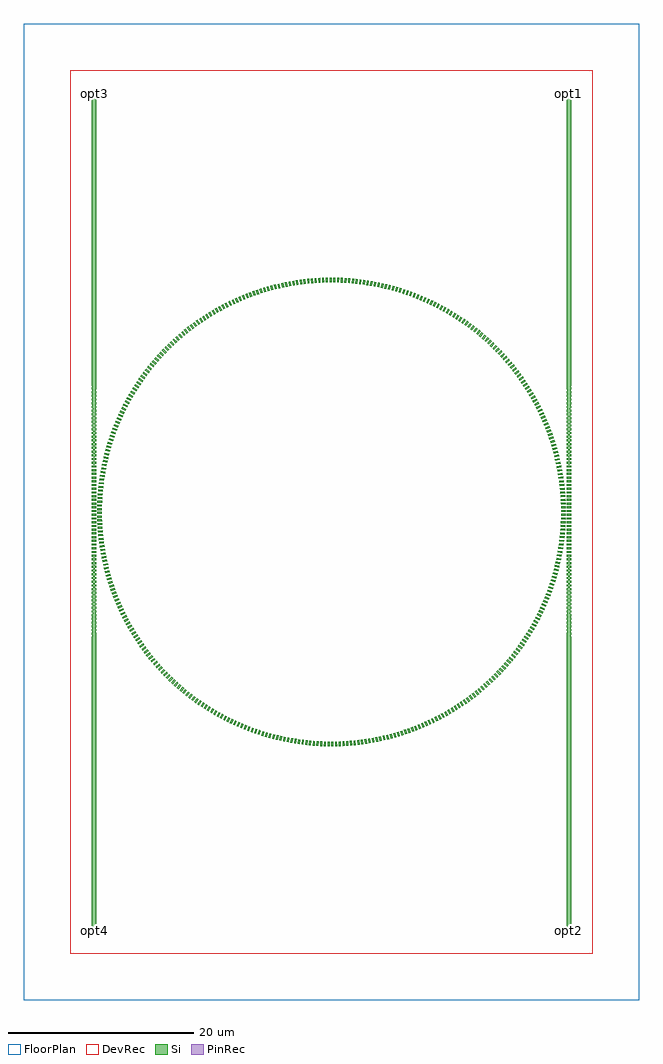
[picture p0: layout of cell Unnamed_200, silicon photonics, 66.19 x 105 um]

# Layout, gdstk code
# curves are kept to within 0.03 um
import gdstk
lib = gdstk.Library(unit=1e-6, precision=1e-09)
def R(c, l, rs):  # rectangles x0, y0, x1, y1
    for r in rs: c.add(gdstk.rectangle(r[:2], r[2:], *l))
def A(c, l, x, y, w, h, nx, ny, dx, dy):  # array of equal rectangles
    R(c, l, [(x+i*dx, y+j*dy, x+i*dx+w, y+j*dy+h) for i in range(nx) for j in range(ny)])
def P(c, l, *ps):  # polygons
    for p in ps: c.add(gdstk.Polygon(p, *l))
Si = (1, 0)
PinRec = (1, 10)
DevRec = (68, 0)
FloorPlan = (99, 0)

unnamed_200 = lib.new_cell('Unnamed_200')
A(unnamed_200, Si, -25.796, -4.4, 0.5, 0.2, 1, 23, 0, 0.4)
A(unnamed_200, Si, 25.296, -4.4, 0.5, 0.2, 1, 23, 0, 0.4)
P(unnamed_200, Si, [(-0.003,-25.205),(-0.002,-24.705),(0.195,-24.705),(0.199,-25.205)],
  [(-25.205,-0.2),(-25.205,0.002),(-24.705,0.002),(-24.705,-0.196)],
  [(-0.197,24.705),(-0.201,25.205),(0.001,25.205),(0.001,24.705)],
  [(12.808,21.126),(12.638,21.228),(12.894,21.658),(13.067,21.554)],
  [(11.075,22.084),(10.898,22.172),(11.118,22.621),(11.299,22.531)],
  [(10.72,22.259),(10.541,22.344),(10.754,22.796),(10.937,22.709)],
  [(10.362,22.428),(10.182,22.51),(10.388,22.965),(10.571,22.881)],
  [(25.296,4.8),(25.296,5),(25.516,5),(25.512,5.2),(25.296,5.2),(25.296,5.4),(25.507,5.4),(25.503,5.6),(25.296,5.6),(25.296,5.8),(25.498,5.8),(25.494,6),(25.296,6),(25.296,6.2),(25.49,6.2),(25.485,6.4),(25.296,6.4),(25.296,6.6),(25.481,6.6),(25.476,6.8),(25.296,6.8),(25.296,7),(25.472,7),(25.468,7.2),(25.296,7.2),(25.296,7.4),(25.463,7.4),(25.459,7.6),(25.296,7.6),(25.296,7.8),(25.454,7.8),(25.45,8),(25.296,8),(25.296,8.2),(25.446,8.2),(25.441,8.4),(25.296,8.4),(25.296,8.6),(25.437,8.6),(25.432,8.8),(25.296,8.8),(25.296,9),(25.428,9),(25.424,9.2),(25.296,9.2),(25.296,9.4),(25.419,9.4),(25.415,9.6),(25.296,9.6),(25.296,9.8),(25.41,9.8),(25.406,10),(25.296,10),(25.296,10.2),(25.402,10.2),(25.397,10.4),(25.296,10.4),(25.296,10.6),(25.393,10.6),(25.388,10.8),(25.296,10.8),(25.296,11),(25.384,11),(25.38,11.2),(25.296,11.2),(25.296,11.4),(25.375,11.4),(25.371,11.6),(25.296,11.6),(25.296,11.8),(25.366,11.8),(25.362,12),(25.296,12),(25.296,12.2),(25.358,12.2),(25.353,12.4),(25.296,12.4),(25.296,12.6),(25.349,12.6),(25.344,12.8),(25.296,12.8),(25.296,13),(25.34,13),(25.336,13.2),(25.296,13.2),(25.296,13.4),(25.331,13.4),(25.327,13.6),(25.296,13.6),(25.296,45),(25.796,45),(25.796,13.6),(25.765,13.6),(25.761,13.4),(25.796,13.4),(25.796,13.2),(25.756,13.2),(25.752,13),(25.796,13),(25.796,12.8),(25.748,12.8),(25.743,12.6),(25.796,12.6),(25.796,12.4),(25.739,12.4),(25.734,12.2),(25.796,12.2),(25.796,12),(25.73,12),(25.726,11.8),(25.796,11.8),(25.796,11.6),(25.721,11.6),(25.717,11.4),(25.796,11.4),(25.796,11.2),(25.712,11.2),(25.708,11),(25.796,11),(25.796,10.8),(25.704,10.8),(25.699,10.6),(25.796,10.6),(25.796,10.4),(25.695,10.4),(25.69,10.2),(25.796,10.2),(25.796,10),(25.686,10),(25.682,9.8),(25.796,9.8),(25.796,9.6),(25.677,9.6),(25.673,9.4),(25.796,9.4),(25.796,9.2),(25.668,9.2),(25.664,9),(25.796,9),(25.796,8.8),(25.66,8.8),(25.655,8.6),(25.796,8.6),(25.796,8.4),(25.651,8.4),(25.646,8.2),(25.796,8.2),(25.796,8),(25.642,8),(25.638,7.8),(25.796,7.8),(25.796,7.6),(25.633,7.6),(25.629,7.4),(25.796,7.4),(25.796,7.2),(25.624,7.2),(25.62,7),(25.796,7),(25.796,6.8),(25.616,6.8),(25.611,6.6),(25.796,6.6),(25.796,6.4),(25.607,6.4),(25.602,6.2),(25.796,6.2),(25.796,6),(25.598,6),(25.594,5.8),(25.796,5.8),(25.796,5.6),(25.589,5.6),(25.585,5.4),(25.796,5.4),(25.796,5.2),(25.58,5.2),(25.576,5),(25.796,5),(25.796,4.8)],
  [(9.638,22.748),(9.455,22.825),(9.646,23.287),(9.833,23.209)],
  [(9.272,22.9),(9.088,22.973),(9.272,23.438),(9.459,23.363)],
  [(8.904,23.045),(8.719,23.116),(8.895,23.584),(9.084,23.512)],
  [(8.533,23.185),(8.347,23.253),(8.516,23.723),(8.706,23.654)],
  [(8.16,23.319),(7.973,23.384),(8.135,23.857),(8.325,23.791)],
  [(7.786,23.447),(7.597,23.508),(7.751,23.984),(7.943,23.921)],
  [(7.409,23.568),(7.22,23.627),(7.366,24.105),(7.559,24.045)],
  [(7.03,23.684),(6.84,23.74),(6.978,24.22),(7.172,24.164)],
  [(6.65,23.794),(6.459,23.846),(6.589,24.329),(6.784,24.275)],
  [(6.267,23.897),(6.076,23.947),(6.199,24.431),(6.394,24.381)],
  [(5.884,23.995),(5.691,24.041),(5.806,24.528),(6.003,24.48)],
  [(5.498,24.086),(5.305,24.129),(5.412,24.618),(5.609,24.573)],
  [(5.111,24.171),(4.918,24.211),(5.017,24.701),(5.215,24.66)],
  [(4.723,24.25),(4.529,24.287),(4.621,24.778),(4.819,24.741)],
  [(4.334,24.322),(4.139,24.356),(4.223,24.849),(4.422,24.815)],
  [(3.944,24.389),(3.748,24.42),(3.824,24.914),(4.024,24.882)],
  [(3.552,24.449),(3.356,24.476),(3.424,24.972),(3.624,24.944)],
  [(3.16,24.503),(2.964,24.527),(3.024,25.023),(3.224,24.998)],
  [(2.767,24.55),(2.57,24.571),(2.622,25.069),(2.823,25.047)],
  [(2.373,24.591),(2.176,24.609),(2.22,25.108),(2.421,25.089)],
  [(1.979,24.626),(1.781,24.641),(1.817,25.14),(2.019,25.125)],
  [(1.584,24.655),(1.386,24.667),(1.414,25.166),(1.616,25.154)],
  [(1.188,24.677),(0.991,24.686),(1.011,25.185),(1.212,25.176)],
  [(0.793,24.693),(0.595,24.698),(0.607,25.198),(0.809,25.193)],
  [(0.397,24.702),(0.199,24.705),(0.203,25.205),(0.405,25.202)],
  [(10.001,22.591),(9.82,22.67),(10.018,23.129),(10.203,23.048)],
  [(11.777,21.718),(11.603,21.811),(11.838,22.253),(12.016,22.157)],
  [(11.428,21.904),(11.252,21.994),(11.48,22.44),(11.659,22.347)],
  [(12.467,21.329),(12.296,21.428),(12.545,21.862),(12.72,21.761)],
  [(12.124,21.526),(11.951,21.623),(12.193,22.06),(12.369,21.962)],
  [(22.9,9.271),(22.825,9.454),(23.287,9.646),(23.363,9.459)],
  [(22.748,9.637),(22.671,9.819),(23.129,10.018),(23.209,9.832)],
  [(22.591,10),(22.51,10.181),(22.966,10.387),(23.048,10.203)],
  [(22.428,10.361),(22.344,10.54),(22.796,10.754),(22.882,10.571)],
  [(22.259,10.719),(22.172,10.897),(22.621,11.118),(22.709,10.936)],
  [(22.084,11.074),(21.995,11.251),(22.44,11.479),(22.531,11.299)],
  [(21.904,11.427),(21.812,11.602),(22.253,11.837),(22.347,11.658)],
  [(21.718,11.777),(21.623,11.95),(22.061,12.192),(22.158,12.015)],
  [(21.526,12.123),(21.429,12.295),(21.862,12.544),(21.962,12.369)],
  [(21.329,12.467),(21.229,12.637),(21.658,12.893),(21.761,12.719)],
  [(21.127,12.807),(21.024,12.976),(21.449,13.238),(21.554,13.066)],
  [(20.919,13.144),(20.813,13.311),(21.234,13.58),(21.342,13.41)],
  [(20.706,13.477),(20.597,13.643),(21.014,13.919),(21.125,13.75)],
  [(20.487,13.808),(20.376,13.971),(20.788,14.254),(20.902,14.087)],
  [(20.263,14.134),(20.149,14.296),(20.557,14.585),(20.673,14.42)],
  [(20.034,14.457),(19.917,14.617),(20.32,14.913),(20.439,14.75)],
  [(19.8,14.776),(19.68,14.935),(20.079,15.237),(20.2,15.075)],
  [(19.56,15.092),(19.439,15.248),(19.832,15.557),(19.956,15.397)],
  [(19.316,15.403),(19.192,15.558),(19.58,15.873),(19.707,15.715)],
  [(19.066,15.711),(18.94,15.863),(19.323,16.184),(19.452,16.029)],
  [(18.812,16.015),(18.683,16.165),(19.061,16.492),(19.193,16.339)],
  [(18.553,16.314),(18.422,16.462),(18.795,16.795),(18.929,16.644)],
  [(18.289,16.609),(18.156,16.755),(18.523,17.094),(18.659,16.945)],
  [(18.021,16.9),(17.885,17.044),(18.247,17.389),(18.385,17.242)],
  [(17.747,17.187),(17.609,17.329),(17.966,17.679),(18.107,17.535)],
  [(17.47,17.469),(17.329,17.609),(17.68,17.965),(17.823,17.823)],
  [(17.187,17.747),(17.045,17.884),(17.39,18.246),(17.535,18.106)],
  [(16.901,18.02),(16.756,18.155),(17.095,18.522),(17.243,18.385)],
  [(16.61,18.289),(16.463,18.421),(16.796,18.794),(16.946,18.659)],
  [(16.315,18.553),(16.165,18.683),(16.493,19.061),(16.645,18.928)],
  [(16.015,18.812),(15.864,18.939),(16.185,19.323),(16.339,19.192)],
  [(15.712,19.066),(15.558,19.191),(15.873,19.58),(16.03,19.452)],
  [(15.404,19.315),(15.249,19.438),(15.557,19.831),(15.716,19.706)],
  [(15.092,19.56),(14.935,19.68),(15.237,20.078),(15.398,19.956)],
  [(14.777,19.799),(14.618,19.917),(14.914,20.32),(15.076,20.2)],
  [(14.458,20.033),(14.297,20.149),(14.586,20.556),(14.75,20.439)],
  [(14.135,20.262),(13.972,20.375),(14.255,20.787),(14.421,20.673)],
  [(13.808,20.486),(13.644,20.596),(13.92,21.013),(14.088,20.901)],
  [(13.478,20.705),(13.312,20.812),(13.581,21.234),(13.751,21.124)],
  [(13.145,20.918),(12.977,21.023),(13.239,21.449),(13.411,21.342)],
  [(24.705,0),(24.705,0.198),(25.205,0.202),(25.205,0)],
  [(24.702,0.396),(24.698,0.594),(25.198,0.606),(25.202,0.404)],
  [(24.693,0.792),(24.686,0.99),(25.185,1.01),(25.193,0.808)],
  [(24.677,1.187),(24.667,1.385),(25.166,1.413),(25.176,1.212)],
  [(24.655,1.583),(24.641,1.78),(25.14,1.816),(25.154,1.615)],
  [(24.626,1.978),(24.61,2.175),(25.108,2.219),(25.125,2.018)],
  [(24.591,2.372),(24.572,2.569),(25.069,2.621),(25.089,2.42)],
  [(24.55,2.766),(24.527,2.963),(25.024,3.023),(25.047,2.822)],
  [(24.503,3.159),(24.477,3.355),(24.972,3.423),(24.999,3.223)],
  [(24.449,3.552),(24.42,3.747),(24.914,3.823),(24.944,3.623)],
  [(24.389,3.943),(24.356,4.138),(24.849,4.222),(24.882,4.023)],
  [(24.323,4.333),(24.287,4.528),(24.779,4.62),(24.815,4.421)],
  [(24.25,4.723),(24.211,4.917),(24.701,5.016),(24.741,4.818)],
  [(24.171,5.111),(24.129,5.304),(24.618,5.412),(24.66,5.214)],
  [(24.086,5.497),(24.041,5.69),(24.528,5.805),(24.574,5.609)],
  [(23.995,5.883),(23.947,6.075),(24.432,6.198),(24.481,6.002)],
  [(23.898,6.267),(23.847,6.458),(24.329,6.589),(24.381,6.393)],
  [(23.794,6.649),(23.74,6.839),(24.22,6.978),(24.276,6.783)],
  [(23.684,7.029),(23.627,7.219),(24.105,7.365),(24.164,7.172)],
  [(23.569,7.408),(23.509,7.597),(23.984,7.75),(24.046,7.558)],
  [(23.447,7.785),(23.384,7.972),(23.857,8.134),(23.921,7.942)],
  [(23.319,8.16),(23.253,8.346),(23.724,8.515),(23.791,8.325)],
  [(23.185,8.532),(23.116,8.718),(23.584,8.894),(23.655,8.705)],
  [(23.046,8.903),(22.974,9.087),(23.439,9.271),(23.512,9.083)],
  [(-12.975,21.024),(-13.238,21.449),(-13.065,21.555),(-12.806,21.127)],
  [(-11.25,21.995),(-11.478,22.44),(-11.298,22.532),(-11.074,22.085)],
  [(-10.896,22.173),(-11.117,22.621),(-10.935,22.71),(-10.718,22.259)],
  [(-10.54,22.345),(-10.753,22.797),(-10.57,22.882),(-10.36,22.428)],
  [(-25.796,4.8),(-25.796,5),(-25.576,5),(-25.58,5.2),(-25.796,5.2),(-25.796,5.4),(-25.585,5.4),(-25.589,5.6),(-25.796,5.6),(-25.796,5.8),(-25.594,5.8),(-25.598,6),(-25.796,6),(-25.796,6.2),(-25.602,6.2),(-25.607,6.4),(-25.796,6.4),(-25.796,6.6),(-25.611,6.6),(-25.616,6.8),(-25.796,6.8),(-25.796,7),(-25.62,7),(-25.624,7.2),(-25.796,7.2),(-25.796,7.4),(-25.629,7.4),(-25.633,7.6),(-25.796,7.6),(-25.796,7.8),(-25.638,7.8),(-25.642,8),(-25.796,8),(-25.796,8.2),(-25.646,8.2),(-25.651,8.4),(-25.796,8.4),(-25.796,8.6),(-25.655,8.6),(-25.66,8.8),(-25.796,8.8),(-25.796,9),(-25.664,9),(-25.668,9.2),(-25.796,9.2),(-25.796,9.4),(-25.673,9.4),(-25.677,9.6),(-25.796,9.6),(-25.796,9.8),(-25.682,9.8),(-25.686,10),(-25.796,10),(-25.796,10.2),(-25.69,10.2),(-25.695,10.4),(-25.796,10.4),(-25.796,10.6),(-25.699,10.6),(-25.704,10.8),(-25.796,10.8),(-25.796,11),(-25.708,11),(-25.712,11.2),(-25.796,11.2),(-25.796,11.4),(-25.717,11.4),(-25.721,11.6),(-25.796,11.6),(-25.796,11.8),(-25.726,11.8),(-25.73,12),(-25.796,12),(-25.796,12.2),(-25.734,12.2),(-25.739,12.4),(-25.796,12.4),(-25.796,12.6),(-25.743,12.6),(-25.748,12.8),(-25.796,12.8),(-25.796,13),(-25.752,13),(-25.756,13.2),(-25.796,13.2),(-25.796,13.4),(-25.761,13.4),(-25.765,13.6),(-25.796,13.6),(-25.796,45),(-25.296,45),(-25.296,13.6),(-25.327,13.6),(-25.331,13.4),(-25.296,13.4),(-25.296,13.2),(-25.336,13.2),(-25.34,13),(-25.296,13),(-25.296,12.8),(-25.344,12.8),(-25.349,12.6),(-25.296,12.6),(-25.296,12.4),(-25.353,12.4),(-25.358,12.2),(-25.296,12.2),(-25.296,12),(-25.362,12),(-25.366,11.8),(-25.296,11.8),(-25.296,11.6),(-25.371,11.6),(-25.375,11.4),(-25.296,11.4),(-25.296,11.2),(-25.38,11.2),(-25.384,11),(-25.296,11),(-25.296,10.8),(-25.388,10.8),(-25.393,10.6),(-25.296,10.6),(-25.296,10.4),(-25.397,10.4),(-25.402,10.2),(-25.296,10.2),(-25.296,10),(-25.406,10),(-25.41,9.8),(-25.296,9.8),(-25.296,9.6),(-25.415,9.6),(-25.419,9.4),(-25.296,9.4),(-25.296,9.2),(-25.424,9.2),(-25.428,9),(-25.296,9),(-25.296,8.8),(-25.432,8.8),(-25.437,8.6),(-25.296,8.6),(-25.296,8.4),(-25.441,8.4),(-25.446,8.2),(-25.296,8.2),(-25.296,8),(-25.45,8),(-25.454,7.8),(-25.296,7.8),(-25.296,7.6),(-25.459,7.6),(-25.463,7.4),(-25.296,7.4),(-25.296,7.2),(-25.468,7.2),(-25.472,7),(-25.296,7),(-25.296,6.8),(-25.476,6.8),(-25.481,6.6),(-25.296,6.6),(-25.296,6.4),(-25.485,6.4),(-25.49,6.2),(-25.296,6.2),(-25.296,6),(-25.494,6),(-25.498,5.8),(-25.296,5.8),(-25.296,5.6),(-25.503,5.6),(-25.507,5.4),(-25.296,5.4),(-25.296,5.2),(-25.512,5.2),(-25.516,5),(-25.296,5),(-25.296,4.8)],
  [(-9.818,22.671),(-10.017,23.13),(-9.831,23.209),(-9.636,22.749)],
  [(-9.453,22.825),(-9.645,23.287),(-9.458,23.364),(-9.27,22.9)],
  [(-9.086,22.974),(-9.27,23.439),(-9.082,23.512),(-8.902,23.046)],
  [(-8.717,23.117),(-8.893,23.584),(-8.704,23.655),(-8.531,23.186)],
  [(-8.345,23.253),(-8.514,23.724),(-8.324,23.791),(-8.159,23.319)],
  [(-7.972,23.384),(-8.133,23.857),(-7.941,23.922),(-7.784,23.447)],
  [(-7.596,23.509),(-7.75,23.985),(-7.557,24.046),(-7.407,23.569)],
  [(-7.218,23.628),(-7.364,24.106),(-7.171,24.164),(-7.028,23.685)],
  [(-6.838,23.74),(-6.977,24.221),(-6.782,24.276),(-6.648,23.794)],
  [(-6.457,23.847),(-6.588,24.329),(-6.393,24.381),(-6.266,23.898)],
  [(-6.074,23.947),(-6.197,24.432),(-6.001,24.481),(-5.882,23.995)],
  [(-5.689,24.041),(-5.805,24.528),(-5.608,24.574),(-5.497,24.086)],
  [(-5.303,24.13),(-5.411,24.618),(-5.213,24.66),(-5.11,24.171)],
  [(-4.916,24.211),(-5.015,24.701),(-4.817,24.741),(-4.722,24.25)],
  [(-4.527,24.287),(-4.619,24.779),(-4.42,24.815),(-4.332,24.323)],
  [(-4.137,24.357),(-4.221,24.85),(-4.022,24.883),(-3.942,24.389)],
  [(-3.747,24.42),(-3.822,24.914),(-3.623,24.944),(-3.551,24.449)],
  [(-3.355,24.477),(-3.423,24.972),(-3.222,24.999),(-3.158,24.503)],
  [(-2.962,24.527),(-3.022,25.024),(-2.821,25.047),(-2.765,24.55)],
  [(-2.568,24.572),(-2.62,25.069),(-2.419,25.089),(-2.371,24.591)],
  [(-2.174,24.61),(-2.218,25.108),(-2.017,25.125),(-1.977,24.626)],
  [(-1.78,24.641),(-1.816,25.14),(-1.614,25.154),(-1.582,24.655)],
  [(-1.384,24.667),(-1.412,25.166),(-1.211,25.176),(-1.187,24.677)],
  [(-0.989,24.686),(-1.009,25.185),(-0.807,25.193),(-0.791,24.693)],
  [(-0.593,24.698),(-0.605,25.198),(-0.403,25.202),(-0.395,24.702)],
  [(-10.18,22.511),(-10.386,22.966),(-10.202,23.049),(-9.999,22.591)],
  [(-14.295,20.15),(-14.585,20.557),(-14.42,20.674),(-14.133,20.263)],
  [(-13.971,20.376),(-14.253,20.788),(-14.086,20.902),(-13.807,20.487)],
  [(-22.824,9.456),(-23.286,9.647),(-23.208,9.833),(-22.748,9.638)],
  [(-13.642,20.597),(-13.918,21.014),(-13.75,21.125),(-13.477,20.706)],
  [(-13.31,20.813),(-13.58,21.235),(-13.409,21.343),(-13.143,20.919)],
  [(-22.67,9.82),(-23.129,10.019),(-23.048,10.204),(-22.59,10.002)],
  [(-24.641,1.782),(-25.14,1.818),(-25.124,2.02),(-24.626,1.979)],
  [(-22.51,10.182),(-22.965,10.388),(-22.881,10.572),(-22.427,10.362)],
  [(-24.419,3.749),(-24.914,3.825),(-24.882,4.024),(-24.389,3.945)],
  [(-22.343,10.542),(-22.796,10.755),(-22.709,10.938),(-22.258,10.721)],
  [(-18.682,16.166),(-19.06,16.493),(-18.927,16.645),(-18.552,16.315)],
  [(-22.172,10.899),(-22.62,11.119),(-22.531,11.3),(-22.084,11.076)],
  [(-23.846,6.459),(-24.329,6.59),(-24.275,6.785),(-23.794,6.65)],
  [(-18.421,16.463),(-18.793,16.797),(-18.658,16.947),(-18.288,16.61)],
  [(-21.994,11.253),(-22.439,11.48),(-22.347,11.66),(-21.903,11.428)],
  [(-24.698,0.596),(-25.198,0.608),(-25.192,0.81),(-24.693,0.793)],
  [(-18.154,16.756),(-18.522,17.096),(-18.384,17.244),(-18.02,16.901)],
  [(-21.811,11.604),(-22.252,11.838),(-22.157,12.016),(-21.717,11.778)],
  [(-23.74,6.841),(-24.22,6.979),(-24.163,7.173),(-23.684,7.031)],
  [(-24.356,4.14),(-24.849,4.224),(-24.814,4.423),(-24.322,4.335)],
  [(-17.883,17.045),(-18.245,17.39),(-18.105,17.536),(-17.746,17.188)],
  [(-21.622,11.952),(-22.06,12.194),(-21.961,12.37),(-21.526,12.125)],
  [(-24.667,1.387),(-25.166,1.415),(-25.154,1.617),(-24.655,1.585)],
  [(-17.608,17.33),(-17.964,17.68),(-17.822,17.824),(-17.469,17.47)],
  [(-21.428,12.297),(-21.861,12.546),(-21.76,12.72),(-21.329,12.468)],
  [(-23.627,7.22),(-24.105,7.367),(-24.045,7.559),(-23.568,7.41)],
  [(-24.686,0.991),(-25.185,1.011),(-25.176,1.213),(-24.677,1.189)],
  [(-17.328,17.61),(-17.679,17.966),(-17.534,18.107),(-17.186,17.748)],
  [(-21.228,12.639),(-21.658,12.894),(-21.554,13.068),(-21.126,12.808)],
  [(-24.527,2.964),(-25.023,3.024),(-24.998,3.225),(-24.502,3.161)],
  [(-24.609,2.177),(-25.107,2.221),(-25.089,2.422),(-24.591,2.374)],
  [(-17.044,17.885),(-17.388,18.247),(-17.242,18.386),(-16.9,18.021)],
  [(-21.023,12.977),(-21.448,13.24),(-21.341,13.411),(-20.918,13.145)],
  [(-23.508,7.598),(-23.984,7.752),(-23.921,7.944),(-23.446,7.786)],
  [(-24.287,4.53),(-24.778,4.621),(-24.74,4.82),(-24.25,4.724)],
  [(-16.755,18.156),(-17.094,18.524),(-16.945,18.66),(-16.609,18.29)],
  [(-20.812,13.312),(-21.233,13.582),(-21.124,13.752),(-20.705,13.479)],
  [(-16.462,18.422),(-16.795,18.795),(-16.644,18.929),(-16.313,18.554)],
  [(-20.596,13.644),(-21.013,13.92),(-20.901,14.088),(-20.486,13.809)],
  [(-23.383,7.974),(-23.857,8.135),(-23.791,8.326),(-23.319,8.161)],
  [(-24.211,4.918),(-24.701,5.018),(-24.66,5.216),(-24.171,5.112)],
  [(-16.164,18.684),(-16.491,19.062),(-16.338,19.193),(-16.014,18.813)],
  [(-20.375,13.973),(-20.787,14.255),(-20.672,14.422),(-20.262,14.136)],
  [(-15.863,18.94),(-16.184,19.324),(-16.028,19.453),(-15.71,19.067)],
  [(-20.148,14.297),(-20.556,14.587),(-20.438,14.751),(-20.033,14.458)],
  [(-23.252,8.348),(-23.723,8.517),(-23.654,8.707),(-23.185,8.534)],
  [(-24.129,5.306),(-24.617,5.413),(-24.573,5.61),(-24.086,5.499)],
  [(-15.557,19.192),(-15.872,19.581),(-15.714,19.707),(-15.403,19.316)],
  [(-19.916,14.619),(-20.319,14.914),(-20.199,15.077),(-19.799,14.778)],
  [(-24.705,0.2),(-25.205,0.204),(-25.202,0.406),(-24.702,0.398)],
  [(-15.247,19.439),(-15.556,19.833),(-15.397,19.957),(-15.091,19.561)],
  [(-19.679,14.936),(-20.078,15.238),(-19.955,15.399),(-19.559,15.093)],
  [(-23.116,8.719),(-23.584,8.896),(-23.511,9.085),(-23.045,8.904)],
  [(-24.041,5.692),(-24.527,5.807),(-24.48,6.003),(-23.995,5.884)],
  [(-14.934,19.681),(-15.236,20.079),(-15.075,20.201),(-14.776,19.8)],
  [(-19.438,15.249),(-19.831,15.558),(-19.706,15.716),(-19.315,15.405)],
  [(-24.476,3.357),(-24.972,3.425),(-24.943,3.625),(-24.449,3.553)],
  [(-24.571,2.571),(-25.069,2.623),(-25.047,2.824),(-24.55,2.768)],
  [(-14.617,19.918),(-14.912,20.321),(-14.749,20.44),(-14.456,20.034)],
  [(-19.191,15.559),(-19.579,15.874),(-19.451,16.03),(-19.065,15.712)],
  [(-23.947,6.076),(-24.431,6.199),(-24.381,6.395),(-23.897,6.268)],
  [(-22.973,9.089),(-23.438,9.273),(-23.363,9.46),(-22.899,9.273)],
  [(-18.939,15.865),(-19.322,16.186),(-19.192,16.34),(-18.811,16.016)],
  [(-12.295,21.429),(-12.543,21.863),(-12.368,21.963),(-12.122,21.527)],
  [(-11.601,21.812),(-11.836,22.254),(-11.658,22.348),(-11.426,21.904)],
  [(-12.636,21.229),(-12.892,21.659),(-12.718,21.762),(-12.466,21.33)],
  [(-11.95,21.623),(-12.191,22.061),(-12.014,22.158),(-11.776,21.718)],
  [(-10.389,-22.965),(-10.573,-22.881),(-10.363,-22.427),(-10.183,-22.509)],
  [(-10.756,-22.795),(-10.938,-22.708),(-10.721,-22.258),(-10.543,-22.343)],
  [(-11.12,-22.62),(-11.301,-22.53),(-11.077,-22.083),(-10.899,-22.171)],
  [(-12.895,-21.657),(-13.068,-21.553),(-12.809,-21.126),(-12.639,-21.228)],
  [(-25.796,-45),(-25.796,-13.4),(-25.765,-13.4),(-25.761,-13.2),(-25.796,-13.2),(-25.796,-13),(-25.756,-13),(-25.752,-12.8),(-25.796,-12.8),(-25.796,-12.6),(-25.748,-12.6),(-25.743,-12.4),(-25.796,-12.4),(-25.796,-12.2),(-25.739,-12.2),(-25.734,-12),(-25.796,-12),(-25.796,-11.8),(-25.73,-11.8),(-25.726,-11.6),(-25.796,-11.6),(-25.796,-11.4),(-25.721,-11.4),(-25.717,-11.2),(-25.796,-11.2),(-25.796,-11),(-25.712,-11),(-25.708,-10.8),(-25.796,-10.8),(-25.796,-10.6),(-25.704,-10.6),(-25.699,-10.4),(-25.796,-10.4),(-25.796,-10.2),(-25.695,-10.2),(-25.69,-10),(-25.796,-10),(-25.796,-9.8),(-25.686,-9.8),(-25.682,-9.6),(-25.796,-9.6),(-25.796,-9.4),(-25.677,-9.4),(-25.673,-9.2),(-25.796,-9.2),(-25.796,-9),(-25.668,-9),(-25.664,-8.8),(-25.796,-8.8),(-25.796,-8.6),(-25.66,-8.6),(-25.655,-8.4),(-25.796,-8.4),(-25.796,-8.2),(-25.651,-8.2),(-25.646,-8),(-25.796,-8),(-25.796,-7.8),(-25.642,-7.8),(-25.638,-7.6),(-25.796,-7.6),(-25.796,-7.4),(-25.633,-7.4),(-25.629,-7.2),(-25.796,-7.2),(-25.796,-7),(-25.624,-7),(-25.62,-6.8),(-25.796,-6.8),(-25.796,-6.6),(-25.616,-6.6),(-25.611,-6.4),(-25.796,-6.4),(-25.796,-6.2),(-25.607,-6.2),(-25.602,-6),(-25.796,-6),(-25.796,-5.8),(-25.598,-5.8),(-25.594,-5.6),(-25.796,-5.6),(-25.796,-5.4),(-25.589,-5.4),(-25.585,-5.2),(-25.796,-5.2),(-25.796,-5),(-25.58,-5),(-25.576,-4.8),(-25.796,-4.8),(-25.796,-4.6),(-25.296,-4.6),(-25.296,-4.8),(-25.516,-4.8),(-25.512,-5),(-25.296,-5),(-25.296,-5.2),(-25.507,-5.2),(-25.503,-5.4),(-25.296,-5.4),(-25.296,-5.6),(-25.498,-5.6),(-25.494,-5.8),(-25.296,-5.8),(-25.296,-6),(-25.49,-6),(-25.485,-6.2),(-25.296,-6.2),(-25.296,-6.4),(-25.481,-6.4),(-25.476,-6.6),(-25.296,-6.6),(-25.296,-6.8),(-25.472,-6.8),(-25.468,-7),(-25.296,-7),(-25.296,-7.2),(-25.463,-7.2),(-25.459,-7.4),(-25.296,-7.4),(-25.296,-7.6),(-25.454,-7.6),(-25.45,-7.8),(-25.296,-7.8),(-25.296,-8),(-25.446,-8),(-25.441,-8.2),(-25.296,-8.2),(-25.296,-8.4),(-25.437,-8.4),(-25.432,-8.6),(-25.296,-8.6),(-25.296,-8.8),(-25.428,-8.8),(-25.424,-9),(-25.296,-9),(-25.296,-9.2),(-25.419,-9.2),(-25.415,-9.4),(-25.296,-9.4),(-25.296,-9.6),(-25.41,-9.6),(-25.406,-9.8),(-25.296,-9.8),(-25.296,-10),(-25.402,-10),(-25.397,-10.2),(-25.296,-10.2),(-25.296,-10.4),(-25.393,-10.4),(-25.388,-10.6),(-25.296,-10.6),(-25.296,-10.8),(-25.384,-10.8),(-25.38,-11),(-25.296,-11),(-25.296,-11.2),(-25.375,-11.2),(-25.371,-11.4),(-25.296,-11.4),(-25.296,-11.6),(-25.366,-11.6),(-25.362,-11.8),(-25.296,-11.8),(-25.296,-12),(-25.358,-12),(-25.353,-12.2),(-25.296,-12.2),(-25.296,-12.4),(-25.349,-12.4),(-25.344,-12.6),(-25.296,-12.6),(-25.296,-12.8),(-25.34,-12.8),(-25.336,-13),(-25.296,-13),(-25.296,-13.2),(-25.331,-13.2),(-25.327,-13.4),(-25.296,-13.4),(-25.296,-45)],
  [(-12.194,-22.059),(-12.371,-21.961),(-12.125,-21.525),(-11.952,-21.622)],
  [(-12.546,-21.861),(-12.721,-21.76),(-12.469,-21.328),(-12.297,-21.427)],
  [(-11.481,-22.439),(-11.661,-22.346),(-11.429,-21.903),(-11.253,-21.994)],
  [(-11.839,-22.252),(-12.017,-22.156),(-11.779,-21.717),(-11.604,-21.811)],
  [(-13.583,-21.233),(-13.752,-21.123),(-13.48,-20.704),(-13.313,-20.812)],
  [(-13.921,-21.012),(-14.089,-20.9),(-13.81,-20.485),(-13.645,-20.595)],
  [(-14.256,-20.786),(-14.422,-20.672),(-14.136,-20.262),(-13.973,-20.374)],
  [(-14.587,-20.555),(-14.752,-20.438),(-14.459,-20.032),(-14.298,-20.148)],
  [(-14.915,-20.319),(-15.077,-20.199),(-14.778,-19.798),(-14.619,-19.916)],
  [(-15.239,-20.077),(-15.399,-19.954),(-15.094,-19.559),(-14.937,-19.679)],
  [(-15.559,-19.83),(-15.717,-19.705),(-15.405,-19.314),(-15.25,-19.437)],
  [(-15.874,-19.579),(-16.031,-19.451),(-15.713,-19.065),(-15.56,-19.19)],
  [(-16.186,-19.322),(-16.341,-19.191),(-16.016,-18.811),(-15.865,-18.938)],
  [(-16.494,-19.06),(-16.646,-18.927),(-16.316,-18.551),(-16.167,-18.682)],
  [(-16.797,-18.793),(-16.947,-18.658),(-16.611,-18.288),(-16.464,-18.42)],
  [(-17.096,-18.521),(-17.244,-18.384),(-16.902,-18.019),(-16.757,-18.154)],
  [(-17.391,-18.245),(-17.537,-18.105),(-17.189,-17.746),(-17.046,-17.883)],
  [(-17.681,-17.964),(-17.824,-17.821),(-17.471,-17.468),(-17.33,-17.607)],
  [(-17.967,-17.678),(-18.108,-17.534),(-17.749,-17.186),(-17.61,-17.327)],
  [(-18.248,-17.388),(-18.387,-17.241),(-18.022,-16.899),(-17.886,-17.043)],
  [(-18.524,-17.093),(-18.66,-16.944),(-18.29,-16.608),(-18.157,-16.754)],
  [(-18.796,-16.794),(-18.93,-16.643),(-18.554,-16.313),(-18.423,-16.461)],
  [(-19.062,-16.491),(-19.194,-16.337),(-18.813,-16.013),(-18.684,-16.164)],
  [(-19.324,-16.183),(-19.453,-16.028),(-19.067,-15.71),(-18.941,-15.862)],
  [(-19.581,-15.871),(-19.708,-15.714),(-19.317,-15.402),(-19.193,-15.556)],
  [(-19.833,-15.555),(-19.957,-15.396),(-19.561,-15.09),(-19.44,-15.247)],
  [(-20.08,-15.235),(-20.201,-15.074),(-19.801,-14.775),(-19.681,-14.933)],
  [(-20.321,-14.912),(-20.44,-14.748),(-20.035,-14.456),(-19.918,-14.616)],
  [(-20.558,-14.584),(-20.674,-14.419),(-20.264,-14.133),(-20.15,-14.295)],
  [(-20.789,-14.253),(-20.902,-14.086),(-20.488,-13.806),(-20.377,-13.97)],
  [(-21.015,-13.918),(-21.126,-13.749),(-20.706,-13.476),(-20.598,-13.642)],
  [(-21.235,-13.579),(-21.343,-13.408),(-20.92,-13.142),(-20.814,-13.31)],
  [(-21.45,-13.237),(-21.555,-13.065),(-21.128,-12.805),(-21.024,-12.974)],
  [(-21.659,-12.891),(-21.762,-12.717),(-21.33,-12.465),(-21.23,-12.636)],
  [(-21.863,-12.543),(-21.963,-12.367),(-21.527,-12.122),(-21.429,-12.294)],
  [(-22.061,-12.191),(-22.158,-12.013),(-21.719,-11.775),(-21.624,-11.949)],
  [(-22.254,-11.835),(-22.348,-11.657),(-21.905,-11.426),(-21.812,-11.601)],
  [(-22.441,-11.477),(-22.532,-11.297),(-22.085,-11.073),(-21.996,-11.25)],
  [(-22.622,-11.116),(-22.71,-10.935),(-22.26,-10.718),(-22.173,-10.896)],
  [(-22.797,-10.752),(-22.883,-10.569),(-22.429,-10.359),(-22.345,-10.539)],
  [(-22.967,-10.385),(-23.049,-10.201),(-22.592,-9.999),(-22.511,-10.179)],
  [(-23.13,-10.016),(-23.21,-9.83),(-22.749,-9.635),(-22.671,-9.817)],
  [(-23.288,-9.644),(-23.364,-9.457),(-22.901,-9.269),(-22.826,-9.453)],
  [(-23.439,-9.269),(-23.513,-9.081),(-23.046,-8.901),(-22.974,-9.086)],
  [(-23.585,-8.893),(-23.655,-8.703),(-23.186,-8.531),(-23.117,-8.716)],
  [(-23.724,-8.513),(-23.792,-8.323),(-23.32,-8.158),(-23.254,-8.345)],
  [(-23.858,-8.132),(-23.922,-7.941),(-23.447,-7.783),(-23.384,-7.971)],
  [(-23.985,-7.749),(-24.046,-7.556),(-23.569,-7.406),(-23.509,-7.595)],
  [(-24.106,-7.363),(-24.164,-7.17),(-23.685,-7.028),(-23.628,-7.217)],
  [(-24.221,-6.976),(-24.276,-6.782),(-23.794,-6.647),(-23.74,-6.838)],
  [(-24.33,-6.587),(-24.382,-6.392),(-23.898,-6.265),(-23.847,-6.456)],
  [(-24.432,-6.196),(-24.481,-6),(-23.995,-5.881),(-23.947,-6.073)],
  [(-24.528,-5.804),(-24.574,-5.607),(-24.086,-5.496),(-24.042,-5.689)],
  [(-24.618,-5.41),(-24.661,-5.212),(-24.171,-5.109),(-24.13,-5.303)],
  [(-24.702,-5.015),(-24.741,-4.816),(-24.25,-4.721),(-24.212,-4.915)],
  [(-13.241,-21.448),(-13.412,-21.341),(-13.146,-20.918),(-12.978,-21.022)],
  [(-24.779,-4.618),(-24.815,-4.419),(-24.323,-4.332),(-24.287,-4.526)],
  [(-24.85,-4.22),(-24.883,-4.021),(-24.389,-3.941),(-24.357,-4.137)],
  [(-24.914,-3.821),(-24.944,-3.622),(-24.449,-3.55),(-24.42,-3.746)],
  [(-24.972,-3.422),(-24.999,-3.221),(-24.503,-3.158),(-24.477,-3.354)],
  [(-25.024,-3.021),(-25.047,-2.82),(-24.55,-2.764),(-24.527,-2.961)],
  [(-25.069,-2.62),(-25.089,-2.419),(-24.591,-2.371),(-24.572,-2.568)],
  [(-25.108,-2.217),(-25.125,-2.016),(-24.626,-1.976),(-24.61,-2.173)],
  [(-25.14,-1.815),(-25.154,-1.613),(-24.655,-1.581),(-24.641,-1.779)],
  [(-25.166,-1.412),(-25.176,-1.21),(-24.677,-1.186),(-24.667,-1.384)],
  [(-25.185,-1.008),(-25.193,-0.806),(-24.693,-0.79),(-24.686,-0.988)],
  [(-25.198,-0.604),(-25.202,-0.402),(-24.702,-0.394),(-24.698,-0.592)],
  [(-10.02,-23.128),(-10.205,-23.047),(-10.002,-22.59),(-9.821,-22.67)],
  [(-2.222,-25.107),(-2.423,-25.089),(-2.375,-24.591),(-2.178,-24.609)],
  [(-2.624,-25.069),(-2.825,-25.047),(-2.769,-24.55),(-2.572,-24.571)],
  [(-3.025,-25.023),(-3.226,-24.998),(-3.162,-24.502),(-2.965,-24.527)],
  [(-3.426,-24.972),(-3.626,-24.943),(-3.554,-24.449),(-3.358,-24.476)],
  [(-3.826,-24.913),(-4.025,-24.882),(-3.945,-24.388),(-3.75,-24.419)],
  [(-4.224,-24.849),(-4.423,-24.814),(-4.336,-24.322),(-4.141,-24.356)],
  [(-4.622,-24.778),(-4.821,-24.74),(-4.725,-24.249),(-4.531,-24.287)],
  [(-5.019,-24.701),(-5.217,-24.66),(-5.113,-24.171),(-4.919,-24.211)],
  [(-5.414,-24.617),(-5.611,-24.573),(-5.5,-24.086),(-5.307,-24.129)],
  [(-5.808,-24.527),(-6.004,-24.48),(-5.885,-23.994),(-5.693,-24.041)],
  [(-6.2,-24.431),(-6.396,-24.381),(-6.269,-23.897),(-6.077,-23.946)],
  [(-6.591,-24.328),(-6.786,-24.275),(-6.651,-23.793),(-6.46,-23.846)],
  [(-6.98,-24.22),(-7.174,-24.163),(-7.032,-23.684),(-6.842,-23.739)],
  [(-7.367,-24.105),(-7.56,-24.045),(-7.41,-23.568),(-7.221,-23.627)],
  [(-7.753,-23.984),(-7.945,-23.921),(-7.787,-23.446),(-7.599,-23.508)],
  [(-8.136,-23.856),(-8.327,-23.79),(-8.162,-23.318),(-7.975,-23.383)],
  [(-8.517,-23.723),(-8.707,-23.654),(-8.535,-23.185),(-8.349,-23.252)],
  [(-8.897,-23.583),(-9.085,-23.511),(-8.905,-23.045),(-8.72,-23.115)],
  [(-9.273,-23.438),(-9.461,-23.363),(-9.273,-22.899),(-9.089,-22.973)],
  [(-9.648,-23.286),(-9.834,-23.208),(-9.639,-22.748),(-9.456,-22.824)],
  [(-0.205,-25.205),(-0.407,-25.202),(-0.398,-24.702),(-0.2,-24.705)],
  [(-0.608,-25.198),(-0.81,-25.192),(-0.794,-24.693),(-0.596,-24.698)],
  [(-1.012,-25.185),(-1.214,-25.176),(-1.19,-24.677),(-0.992,-24.686)],
  [(-1.416,-25.166),(-1.617,-25.154),(-1.585,-24.655),(-1.388,-24.666)],
  [(-1.819,-25.14),(-2.02,-25.124),(-1.98,-24.626),(-1.783,-24.641)],
  [(11.296,-22.532),(11.072,-22.085),(11.249,-21.996),(11.477,-22.441)],
  [(13.064,-21.556),(12.805,-21.128),(12.974,-21.025),(13.236,-21.45)],
  [(25.296,-45),(25.296,-13.4),(25.327,-13.4),(25.331,-13.2),(25.296,-13.2),(25.296,-13),(25.336,-13),(25.34,-12.8),(25.296,-12.8),(25.296,-12.6),(25.344,-12.6),(25.349,-12.4),(25.296,-12.4),(25.296,-12.2),(25.353,-12.2),(25.358,-12),(25.296,-12),(25.296,-11.8),(25.362,-11.8),(25.366,-11.6),(25.296,-11.6),(25.296,-11.4),(25.371,-11.4),(25.375,-11.2),(25.296,-11.2),(25.296,-11),(25.38,-11),(25.384,-10.8),(25.296,-10.8),(25.296,-10.6),(25.388,-10.6),(25.393,-10.4),(25.296,-10.4),(25.296,-10.2),(25.397,-10.2),(25.402,-10),(25.296,-10),(25.296,-9.8),(25.406,-9.8),(25.41,-9.6),(25.296,-9.6),(25.296,-9.4),(25.415,-9.4),(25.419,-9.2),(25.296,-9.2),(25.296,-9),(25.424,-9),(25.428,-8.8),(25.296,-8.8),(25.296,-8.6),(25.432,-8.6),(25.437,-8.4),(25.296,-8.4),(25.296,-8.2),(25.441,-8.2),(25.446,-8),(25.296,-8),(25.296,-7.8),(25.45,-7.8),(25.454,-7.6),(25.296,-7.6),(25.296,-7.4),(25.459,-7.4),(25.463,-7.2),(25.296,-7.2),(25.296,-7),(25.468,-7),(25.472,-6.8),(25.296,-6.8),(25.296,-6.6),(25.476,-6.6),(25.481,-6.4),(25.296,-6.4),(25.296,-6.2),(25.485,-6.2),(25.49,-6),(25.296,-6),(25.296,-5.8),(25.494,-5.8),(25.498,-5.6),(25.296,-5.6),(25.296,-5.4),(25.503,-5.4),(25.507,-5.2),(25.296,-5.2),(25.296,-5),(25.512,-5),(25.516,-4.8),(25.296,-4.8),(25.296,-4.6),(25.796,-4.6),(25.796,-4.8),(25.576,-4.8),(25.58,-5),(25.796,-5),(25.796,-5.2),(25.585,-5.2),(25.589,-5.4),(25.796,-5.4),(25.796,-5.6),(25.594,-5.6),(25.598,-5.8),(25.796,-5.8),(25.796,-6),(25.602,-6),(25.607,-6.2),(25.796,-6.2),(25.796,-6.4),(25.611,-6.4),(25.616,-6.6),(25.796,-6.6),(25.796,-6.8),(25.62,-6.8),(25.624,-7),(25.796,-7),(25.796,-7.2),(25.629,-7.2),(25.633,-7.4),(25.796,-7.4),(25.796,-7.6),(25.638,-7.6),(25.642,-7.8),(25.796,-7.8),(25.796,-8),(25.646,-8),(25.651,-8.2),(25.796,-8.2),(25.796,-8.4),(25.655,-8.4),(25.66,-8.6),(25.796,-8.6),(25.796,-8.8),(25.664,-8.8),(25.668,-9),(25.796,-9),(25.796,-9.2),(25.673,-9.2),(25.677,-9.4),(25.796,-9.4),(25.796,-9.6),(25.682,-9.6),(25.686,-9.8),(25.796,-9.8),(25.796,-10),(25.69,-10),(25.695,-10.2),(25.796,-10.2),(25.796,-10.4),(25.699,-10.4),(25.704,-10.6),(25.796,-10.6),(25.796,-10.8),(25.708,-10.8),(25.712,-11),(25.796,-11),(25.796,-11.2),(25.717,-11.2),(25.721,-11.4),(25.796,-11.4),(25.796,-11.6),(25.726,-11.6),(25.73,-11.8),(25.796,-11.8),(25.796,-12),(25.734,-12),(25.739,-12.2),(25.796,-12.2),(25.796,-12.4),(25.743,-12.4),(25.748,-12.6),(25.796,-12.6),(25.796,-12.8),(25.752,-12.8),(25.756,-13),(25.796,-13),(25.796,-13.2),(25.761,-13.2),(25.765,-13.4),(25.796,-13.4),(25.796,-45)],
  [(10.568,-22.883),(10.359,-22.429),(10.538,-22.345),(10.751,-22.797)],
  [(10.934,-22.711),(10.717,-22.26),(10.895,-22.173),(11.115,-22.622)],
  [(21.123,-13.753),(20.704,-13.48),(20.811,-13.314),(21.232,-13.583)],
  [(21.34,-13.413),(20.917,-13.147),(21.022,-12.979),(21.447,-13.241)],
  [(21.553,-13.069),(21.125,-12.81),(21.227,-12.64),(21.657,-12.896)],
  [(21.759,-12.722),(21.328,-12.47),(21.427,-12.298),(21.861,-12.547)],
  [(21.96,-12.371),(21.525,-12.126),(21.621,-11.953),(22.059,-12.195)],
  [(22.156,-12.018),(21.716,-11.78),(21.81,-11.605),(22.252,-11.84)],
  [(20.198,-15.078),(19.798,-14.779),(19.915,-14.62),(20.318,-14.916)],
  [(22.346,-11.661),(21.902,-11.43),(21.993,-11.254),(22.438,-11.482)],
  [(22.53,-11.302),(22.083,-11.077),(22.171,-10.9),(22.62,-11.121)],
  [(13.408,-21.344),(13.142,-20.92),(13.309,-20.814),(13.578,-21.235)],
  [(22.708,-10.939),(22.258,-10.722),(22.343,-10.543),(22.795,-10.757)],
  [(22.88,-10.574),(22.427,-10.364),(22.509,-10.184),(22.964,-10.39)],
  [(13.748,-21.126),(13.475,-20.707),(13.641,-20.598),(13.917,-21.015)],
  [(23.047,-10.206),(22.59,-10.003),(22.669,-9.822),(23.128,-10.021)],
  [(23.208,-9.835),(22.747,-9.64),(22.824,-9.457),(23.286,-9.649)],
  [(14.085,-20.903),(13.806,-20.488),(13.969,-20.377),(14.252,-20.789)],
  [(23.362,-9.462),(22.899,-9.274),(22.972,-9.09),(23.437,-9.274)],
  [(23.511,-9.086),(23.044,-8.906),(23.115,-8.721),(23.583,-8.897)],
  [(14.418,-20.674),(14.132,-20.264),(14.294,-20.15),(14.583,-20.558)],
  [(23.653,-8.708),(23.184,-8.535),(23.252,-8.349),(23.722,-8.518)],
  [(23.79,-8.328),(23.318,-8.163),(23.383,-7.976),(23.856,-8.137)],
  [(14.748,-20.441),(14.455,-20.035),(14.615,-19.919),(14.911,-20.322)],
  [(23.92,-7.946),(23.446,-7.788),(23.508,-7.6),(23.983,-7.754)],
  [(24.045,-7.561),(23.568,-7.411),(23.626,-7.222),(24.105,-7.368)],
  [(15.073,-20.202),(14.774,-19.801),(14.933,-19.682),(15.235,-20.08)],
  [(24.163,-7.175),(23.683,-7.032),(23.739,-6.842),(24.219,-6.981)],
  [(24.275,-6.787),(23.793,-6.652),(23.846,-6.461),(24.328,-6.592)],
  [(15.395,-19.958),(15.09,-19.562),(15.246,-19.44),(15.555,-19.834)],
  [(24.38,-6.397),(23.897,-6.27),(23.946,-6.078),(24.431,-6.201)],
  [(24.48,-6.005),(23.994,-5.886),(24.041,-5.693),(24.527,-5.809)],
  [(15.713,-19.708),(15.401,-19.317),(15.556,-19.193),(15.871,-19.582)],
  [(24.573,-5.612),(24.085,-5.501),(24.129,-5.307),(24.617,-5.415)],
  [(24.66,-5.217),(24.17,-5.114),(24.211,-4.92),(24.701,-5.02)],
  [(16.027,-19.454),(15.709,-19.068),(15.861,-18.941),(16.182,-19.325)],
  [(20.437,-14.752),(20.032,-14.46),(20.147,-14.299),(20.555,-14.588)],
  [(24.74,-4.821),(24.249,-4.726),(24.286,-4.531),(24.778,-4.623)],
  [(16.337,-19.195),(16.013,-18.814),(16.163,-18.685),(16.49,-19.063)],
  [(24.814,-4.424),(24.322,-4.337),(24.356,-4.142),(24.849,-4.225)],
  [(16.642,-18.93),(16.312,-18.555),(16.46,-18.423),(16.793,-18.796)],
  [(24.882,-4.026),(24.388,-3.946),(24.419,-3.751),(24.913,-3.827)],
  [(16.943,-18.661),(16.607,-18.291),(16.753,-18.157),(17.093,-18.525)],
  [(24.943,-3.627),(24.448,-3.555),(24.476,-3.359),(24.971,-3.427)],
  [(17.24,-18.387),(16.898,-18.022),(17.042,-17.886),(17.387,-18.248)],
  [(24.998,-3.227),(24.502,-3.162),(24.527,-2.966),(25.023,-3.026)],
  [(17.533,-18.108),(17.185,-17.749),(17.327,-17.611),(17.677,-17.967)],
  [(25.047,-2.825),(24.55,-2.769),(24.571,-2.573),(25.068,-2.625)],
  [(17.821,-17.825),(17.467,-17.471),(17.607,-17.331),(17.963,-17.682)],
  [(25.089,-2.424),(24.591,-2.376),(24.609,-2.178),(25.107,-2.222)],
  [(18.104,-17.537),(17.745,-17.189),(17.882,-17.047),(18.244,-17.392)],
  [(25.124,-2.021),(24.626,-1.981),(24.641,-1.784),(25.14,-1.82)],
  [(18.383,-17.245),(18.018,-16.903),(18.153,-16.758),(18.521,-17.097)],
  [(25.153,-1.618),(24.655,-1.586),(24.666,-1.389),(25.166,-1.417)],
  [(18.657,-16.948),(18.287,-16.612),(18.42,-16.465),(18.792,-16.798)],
  [(25.176,-1.215),(24.677,-1.191),(24.686,-0.993),(25.185,-1.013)],
  [(18.926,-16.647),(18.551,-16.316),(18.681,-16.167),(19.059,-16.494)],
  [(20.671,-14.423),(20.261,-14.137),(20.374,-13.974),(20.786,-14.257)],
  [(25.192,-0.811),(24.693,-0.795),(24.698,-0.597),(25.198,-0.609)],
  [(19.191,-16.341),(18.81,-16.017),(18.938,-15.866),(19.321,-16.187)],
  [(25.202,-0.407),(24.702,-0.399),(24.705,-0.201),(25.205,-0.205)],
  [(19.45,-16.032),(19.064,-15.714),(19.19,-15.56),(19.578,-15.875)],
  [(20.9,-14.09),(20.485,-13.81),(20.595,-13.646),(21.012,-13.922)],
  [(19.705,-15.718),(19.314,-15.406),(19.437,-15.251),(19.83,-15.559)],
  [(19.954,-15.4),(19.558,-15.094),(19.678,-14.937),(20.077,-15.239)],
  [(12.013,-22.159),(11.774,-21.719),(11.948,-21.624),(12.19,-22.062)],
  [(12.717,-21.762),(12.464,-21.331),(12.635,-21.23),(12.891,-21.66)],
  [(12.366,-21.963),(12.121,-21.528),(12.293,-21.43),(12.542,-21.864)],
  [(11.656,-22.348),(11.425,-21.905),(11.6,-21.813),(11.835,-22.254)],
  [(1.209,-25.176),(1.185,-24.677),(1.383,-24.667),(1.411,-25.166)],
  [(7.169,-24.164),(7.027,-23.685),(7.216,-23.628),(7.362,-24.106)],
  [(5.212,-24.661),(5.108,-24.172),(5.302,-24.13),(5.409,-24.618)],
  [(3.221,-24.999),(3.157,-24.503),(3.353,-24.477),(3.421,-24.972)],
  [(9.081,-23.513),(8.9,-23.047),(9.085,-22.974),(9.269,-23.439)],
  [(5.999,-24.481),(5.88,-23.995),(6.072,-23.948),(6.195,-24.432)],
  [(10.2,-23.049),(9.998,-22.592),(10.179,-22.511),(10.385,-22.967)],
  [(8.322,-23.792),(8.157,-23.32),(8.344,-23.254),(8.513,-23.724)],
  [(4.02,-24.883),(3.94,-24.389),(4.136,-24.357),(4.219,-24.85)],
  [(4.816,-24.741),(4.72,-24.25),(4.914,-24.212),(5.014,-24.702)],
  [(2.82,-25.047),(2.764,-24.55),(2.96,-24.528),(3.02,-25.024)],
  [(3.621,-24.944),(3.549,-24.449),(3.745,-24.42),(3.821,-24.914)],
  [(2.015,-25.125),(1.975,-24.626),(2.173,-24.61),(2.217,-25.108)],
  [(4.418,-24.815),(4.331,-24.323),(4.526,-24.287),(4.617,-24.779)],
  [(9.456,-23.364),(9.269,-22.901),(9.452,-22.826),(9.643,-23.288)],
  [(6.391,-24.382),(6.264,-23.898),(6.455,-23.847),(6.586,-24.33)],
  [(7.94,-23.922),(7.782,-23.448),(7.97,-23.385),(8.131,-23.858)],
  [(8.703,-23.656),(8.53,-23.186),(8.715,-23.117),(8.892,-23.585)],
  [(0.805,-25.193),(0.789,-24.693),(0.987,-24.686),(1.007,-25.185)],
  [(5.606,-24.574),(5.495,-24.087),(5.688,-24.042),(5.803,-24.528)],
  [(6.781,-24.276),(6.646,-23.795),(6.837,-23.741),(6.975,-24.221)],
  [(0.401,-25.202),(0.393,-24.702),(0.591,-24.698),(0.603,-25.198)],
  [(7.555,-24.046),(7.406,-23.569),(7.594,-23.509),(7.748,-23.985)],
  [(9.829,-23.21),(9.635,-22.749),(9.817,-22.672),(10.015,-23.13)],
  [(1.612,-25.154),(1.58,-24.655),(1.778,-24.641),(1.814,-25.14)],
  [(2.418,-25.089),(2.37,-24.592),(2.567,-24.572),(2.619,-25.069)])
R(unnamed_200, PinRec, [(-25.796,-45,-25.296,-44.9), (25.296,-45,25.796,-44.9), (-25.796,44.9,-25.296,45), (25.296,44.9,25.796,45)])
R(unnamed_200, DevRec, [(-28.096,-47.5,28.096,47.5)])
R(unnamed_200, FloorPlan, [(-33.096,-52.5,33.096,52.5)])
unnamed_200.add(gdstk.Label('opt1', (25.546,45), layer=10, texttype=0))
unnamed_200.add(gdstk.Label('opt2', (25.546,-45), layer=10, texttype=0))
unnamed_200.add(gdstk.Label('opt3', (-25.546,45), layer=10, texttype=0))
unnamed_200.add(gdstk.Label('opt4', (-25.546,-45), layer=10, texttype=0))

lib.write_gds('Unnamed_200.gds')
